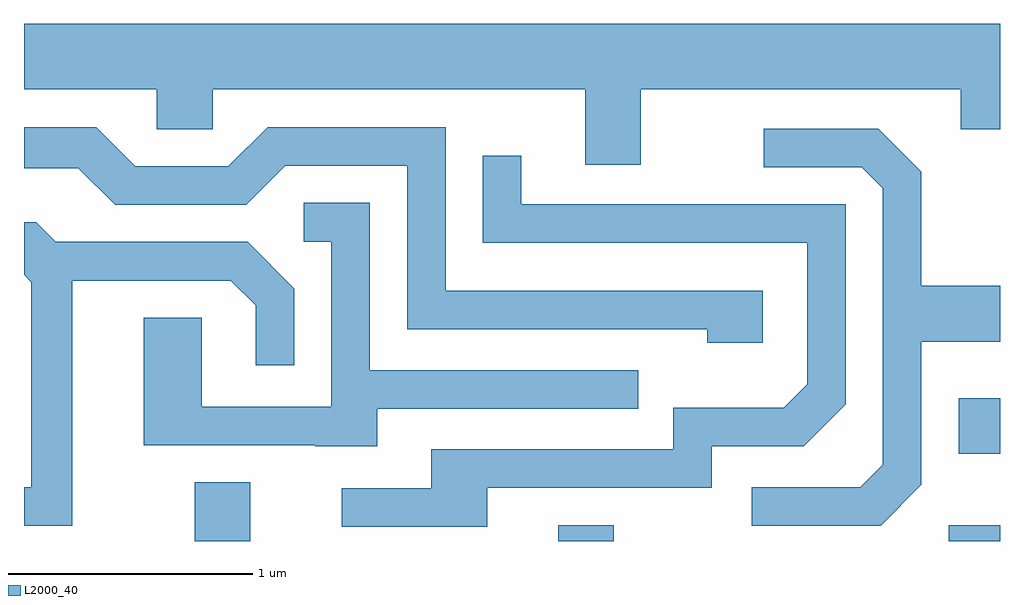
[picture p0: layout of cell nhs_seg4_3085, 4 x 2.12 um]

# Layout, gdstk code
import gdstk
lib = gdstk.Library(unit=1e-6, precision=1e-09)
def R(c, l, rs):  # rectangles x0, y0, x1, y1
    for r in rs: c.add(gdstk.rectangle(r[:2], r[2:], *l))
def P(c, l, *ps):  # polygons
    for p in ps: c.add(gdstk.Polygon(p, *l))
L2000_40 = (2000, 40)

nhs_seg4_3085 = lib.new_cell('nhs_seg4_3085')
R(nhs_seg4_3085, L2000_40, [(276.311,1303.982,276.539,1304.224), (277.801,1303.982,278.029,1304.049), (279.401,1303.982,279.611,1304.049), (279.441,1304.341,279.611,1304.569)])
P(nhs_seg4_3085, L2000_40, [(278.139,1305.836),(279.451,1305.836),(279.451,1305.671),(279.611,1305.671),(279.611,1306.104),(275.611,1306.104),(275.611,1305.836),(276.156,1305.836),(276.156,1305.671),(276.384,1305.671),(276.384,1305.836),(277.911,1305.836),(277.911,1305.526),(278.139,1305.526)],
  [(278.639,1305.009),(277.339,1305.009),(277.339,1305.679),(276.609,1305.679),(276.449,1305.519),(276.067,1305.519),(275.907,1305.679),(275.611,1305.679),(275.611,1305.511),(275.834,1305.511),(275.984,1305.361),(276.522,1305.361),(276.682,1305.521),(277.181,1305.521),(277.181,1304.851),(278.411,1304.851),(278.411,1304.796),(278.639,1304.796)],
  [(279.289,1304.214),(279.289,1304.801),(279.611,1304.801),(279.611,1305.029),(279.289,1305.029),(279.289,1305.497),(279.112,1305.674),(278.643,1305.674),(278.643,1305.516),(279.044,1305.516),(279.131,1305.429),(279.131,1304.297),(279.039,1304.204),(278.593,1304.204),(278.593,1304.046),(279.122,1304.046)],
  [(277.509,1304.201),(278.429,1304.201),(278.429,1304.371),(278.807,1304.371),(278.979,1304.544),(278.979,1305.364),(277.649,1305.364),(277.649,1305.563),(277.491,1305.563),(277.491,1305.206),(278.821,1305.206),(278.821,1304.627),(278.724,1304.529),(278.271,1304.529),(278.271,1304.359),(277.281,1304.359),(277.281,1304.199),(276.913,1304.199),(276.913,1304.041),(277.509,1304.041)],
  [(277.059,1304.526),(278.128,1304.526),(278.128,1304.684),(277.029,1304.684),(277.029,1305.369),(276.758,1305.369),(276.758,1305.211),(276.871,1305.211),(276.871,1304.534),(276.339,1304.534),(276.339,1304.899),(276.101,1304.899),(276.101,1304.376),(276.805,1304.376),(276.805,1304.371),(277.059,1304.371)],
  [(275.809,1305.051),(276.459,1305.051),(276.561,1304.949),(276.561,1304.703),(276.719,1304.703),(276.719,1305.017),(276.527,1305.209),(275.742,1305.209),(275.662,1305.289),(275.611,1305.289),(275.611,1305.074),(275.641,1305.044),(275.641,1304.204),(275.611,1304.204),(275.611,1304.046),(275.809,1304.046)])

lib.write_gds('nhs_seg4_3085.gds')
